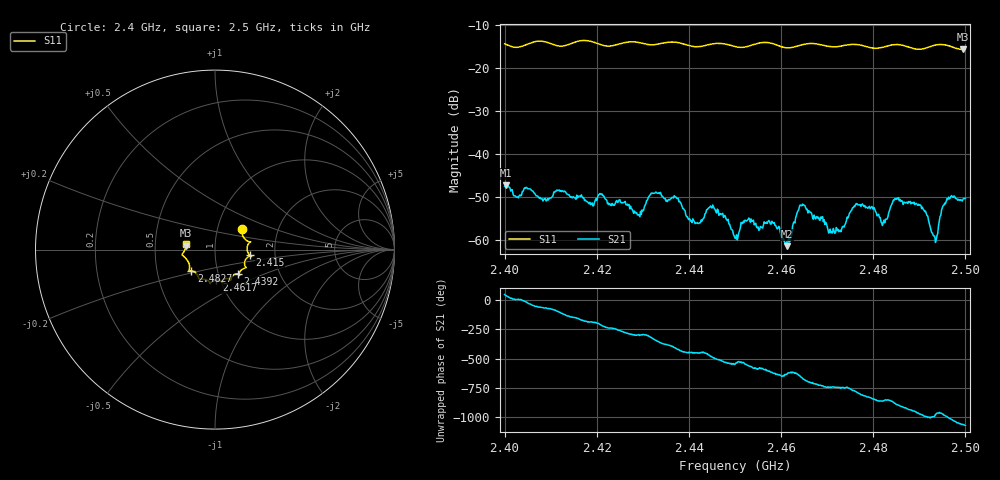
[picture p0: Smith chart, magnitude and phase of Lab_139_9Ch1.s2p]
# Hz S RI R 50
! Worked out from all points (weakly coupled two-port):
!   601 points, 2.4 GHz to 2.5 GHz, reference 50 ohm
!   highest |S21| = -47.36 dB at 2.4003 GHz (marker M1); lowest = -61.5 dB at 2.4613 GHz (marker M2)
!   lowest |S11| = -15.7 dB at 2.4995 GHz (marker M3), VSWR 1.39, Z = 36 + j1.65 ohm
!   |S11| at or under -10 dB: start of sweep to end of sweep
!   S12 and S22 are empty: the file has one direction only
!   S11 on the Smith chart (normalised r, x): 2.4 GHz: 1.31, +0.31; 2.415 GHz: 1.48, -0.10; 2.4392 GHz: 1.24, -0.35; 2.4617 GHz: 0.96, -0.34; 2.4827 GHz: 0.75, -0.18; 2.5 GHz: 0.72, +0.05
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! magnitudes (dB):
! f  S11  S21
! 2.4 GHz  -14.4  -47.6
! 2.4003 GHz  -14.6  -47.4
! 2.415 GHz  -14.2  -50.0
! 2.4167 GHz  -13.7  -49.5
! 2.4292 GHz  -14.1  -54.2
! 2.4333 GHz  -14.5  -49.2
! 2.4392 GHz  -14.6  -53.2
! 2.4452 GHz  -14.4  -51.9
! 2.45 GHz  -15.1  -59.6
! 2.4577 GHz  -14.2  -56.3
! 2.4613 GHz  -15.4  -61.5
! 2.4617 GHz  -15.4  -59.6
! 2.4642 GHz  -14.8  -51.9
! 2.4667 GHz  -14.4  -54.0
! 2.4707 GHz  -15.1  -57.5
! 2.4827 GHz  -15.1  -55.2
! 2.4833 GHz  -14.9  -53.8
! 2.4898 GHz  -15.7  -51.7
! 2.4935 GHz  -14.7  -60.6
! 2.4958 GHz  -14.7  -51.1
! 2.4995 GHz  -15.7  -50.5
! 2.5 GHz  -15.7  -50.3
